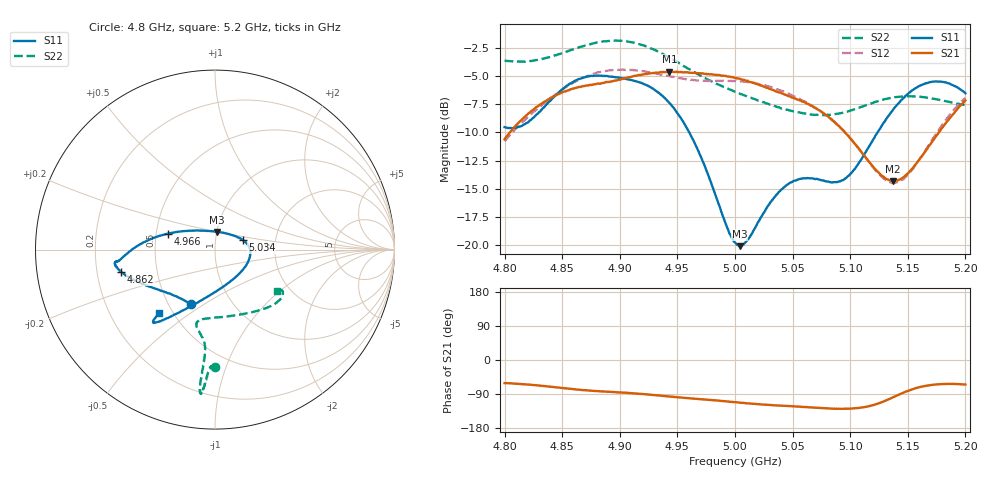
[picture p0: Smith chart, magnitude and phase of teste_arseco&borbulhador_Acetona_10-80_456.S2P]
! Network Analyzer HP8722D
! Hewlett-Packard
! Data name: Linha & Wilkinson
! Saver's name: Rodrigo Anjos
! Comments: Teste da utilização de aquisição
! continua pelo VNA HP8722D
! Time and date: 17/4/2025 18:09
!  Frequency  S11  S21  S12  S22
# HZ  S  MA R 50
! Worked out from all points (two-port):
!   401 points, 4.8 GHz to 5.2 GHz, reference 50 ohm
!   highest |S21| = -4.62 dB at 4.943 GHz (marker M1); lowest = -14.3 dB at 5.137 GHz (marker M2)
!   |S21| within 3 dB of the highest: 4.83 GHz to 5.066 GHz (235.9 MHz wide, 4.77 % of centre); 5.195737 GHz to end of sweep
!   lowest |S11| = -20.1 dB at 5.004 GHz (marker M3), VSWR 1.22, Z = 50.1 + j9.99 ohm
!   |S11| at or under -10 dB: 4.96 GHz to 5.124 GHz (163.4 MHz wide, 3.24 % of centre)
!   |S22| runs from -8.5 to -1.9 dB; largest |S21 - S12| = 0.88
!   S11 on the Smith chart (normalised r, x): 4.8 GHz: 0.64, -0.44; 4.862 GHz: 0.30, -0.11; 4.966 GHz: 0.58, +0.11; 5.034 GHz: 1.35, +0.15; 5.2 GHz: 0.42, -0.38
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4.8e9  0.3336 -113.9  0.2948 -61.0  0.2893 -175.1  0.6562 -90.2
4.819e9  0.3479 -134.0  0.3767 -64.3  0.3644 -173.9  0.653 -92.0
4.862e9  0.5376 -166.6  0.4976 -77.5  0.5319 -177.4  0.7455 -94.3
4.867e9  0.55 -168.5  0.5048 -79.2  0.548 -178.3  0.7581 -94.4
4.9e9  0.5522 -173.2  0.5409 -85.6  0.5977 175.1  0.8035 -95.9
4.934e9  0.4726 -179.1  0.5813 -93.8  0.5727 171.6  0.7164 -96.2
4.943e9  0.4269 176.8  0.5877 -96.3  0.5613 171.5  0.6781 -96.0
4.966e9  0.2764 161.2  0.5791 -102.3  0.5374 173.5  0.5785 -95.5
4.993e9  0.1206 119.3  0.5594 -109.3  0.5342 175.7  0.4957 -98.2
5e9  0.1032 97.5  0.5497 -111.5  0.5336 176.0  0.4784 -99.6
5.004e9  0.09927 83.7  0.5466 -112.6  0.5312 175.8  0.4698 -100.4
5.012e9  0.1073 58.4  0.5298 -114.4  0.5284 175.7  0.4539 -102.3
5.034e9  0.1629 19.6  0.4849 -119.6  0.4955 174.7  0.4143 -103.8
5.049e9  0.1902 4.5  0.4517 -121.9  0.4632 173.9  0.3934 -100.0
5.067e9  0.198 -14.7  0.4143 -125.3  0.4157 173.5  0.379 -90.5
5.085e9  0.1903 -43.2  0.3556 -128.4  0.3569 173.5  0.3801 -76.8
5.097e9  0.1998 -67.7  0.31 -128.8  0.3107 174.6  0.3907 -67.0
5.134e9  0.3787 -117.3  0.1942 -102.9  0.1906 -155.9  0.448 -43.0
5.137e9  0.3968 -119.1  0.1927 -98.8  0.1894 -151.0  0.4512 -41.8
5.15e9  0.4674 -125.0  0.2079 -81.5  0.2049 -131.2  0.4567 -36.9
5.17e9  0.5284 -129.6  0.2822 -66.1  0.2868 -112.3  0.4478 -32.2
5.2e9  0.4712 -131.3  0.4379 -64.7  0.4497 -106.8  0.4167 -33.7
